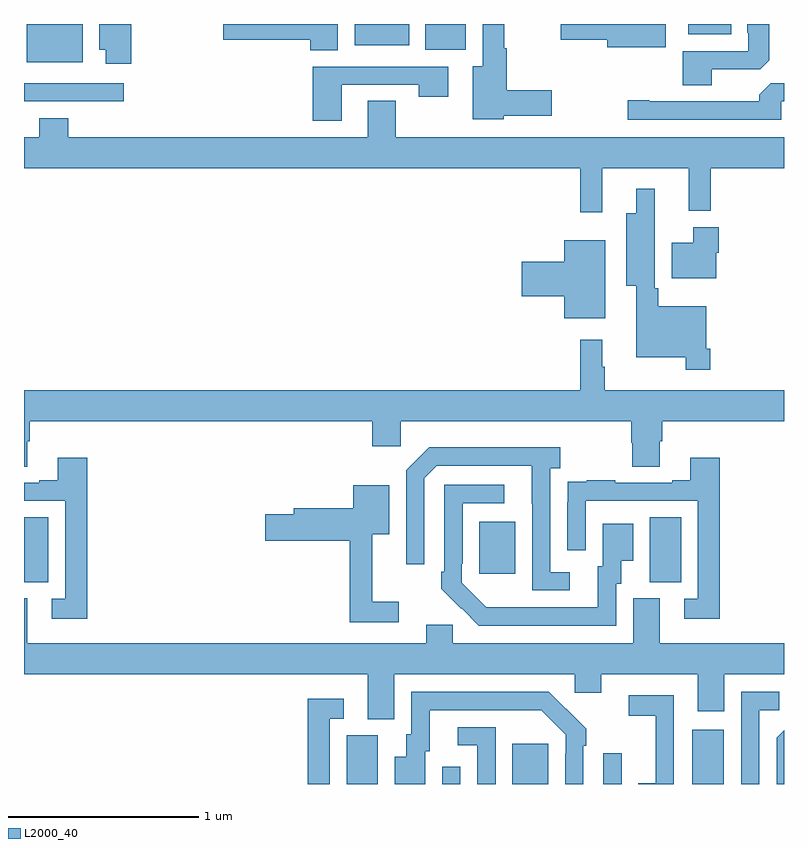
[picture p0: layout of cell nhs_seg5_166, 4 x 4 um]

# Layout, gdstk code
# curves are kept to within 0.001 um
import gdstk
lib = gdstk.Library(unit=1e-6, precision=1e-09)
def R(c, l, rs):  # rectangles x0, y0, x1, y1
    for r in rs: c.add(gdstk.rectangle(r[:2], r[2:], *l))
def P(c, l, *ps):  # polygons
    for p in ps: c.add(gdstk.Polygon(p, *l))
L2000_40 = (2000, 40)

nhs_seg5_166 = lib.new_cell('nhs_seg5_166')
R(nhs_seg5_166, L2000_40, [(120.698,906.799,120.862,907.056), (121.2,906.799,121.296,906.889), (121.571,906.799,121.759,907.012), (122.049,906.799,122.145,906.961), (122.516,906.799,122.683,907.084), (119,907.861,119.128,908.204), (122.294,907.861,122.458,908.204), (121.397,907.905,121.585,908.179), (119,910.392,119.524,910.488), (119.015,910.598,119.308,910.799), (121.112,910.664,121.324,910.799), (120.74,910.688,121.027,910.799), (122.495,910.745,122.722,910.799)])
P(nhs_seg5_166, L2000_40, [(122.62,910.56),(122.874,910.56),(122.923,910.609),(122.923,910.799),(122.807,910.799),(122.807,910.753),(122.811,910.753),(122.811,910.656),(122.468,910.656),(122.468,910.477),(122.62,910.477)],
  [(119.564,910.799),(119.396,910.799),(119.396,910.664),(119.429,910.664),(119.429,910.59),(119.564,910.59)],
  [(122.377,910.799),(121.824,910.799),(121.824,910.715),(122.069,910.715),(122.069,910.676),(122.377,910.676)],
  [(120.652,910.799),(120.048,910.799),(120.048,910.715),(120.506,910.715),(120.506,910.66),(120.652,910.66)],
  [(121.524,910.316),(121.777,910.316),(121.777,910.451),(121.541,910.451),(121.541,910.672),(121.528,910.672),(121.528,910.799),(121.415,910.799),(121.415,910.576),(121.361,910.576),(121.361,910.298),(121.524,910.298)],
  [(120.673,910.479),(121.078,910.479),(121.078,910.416),(121.234,910.416),(121.234,910.575),(120.521,910.575),(120.521,910.29),(120.673,910.29)],
  [(122.985,910.392),(123,910.392),(123,910.488),(122.931,910.488),(122.87,910.426),(122.87,910.392),(122.29,910.392),(122.29,910.397),(122.178,910.397),(122.178,910.296),(122.985,910.296)],
  [(122.043,910.04),(122.498,910.04),(122.498,909.815),(122.615,909.815),(122.615,910.04),(123,910.04),(123,910.204),(120.957,910.204),(120.957,910.394),(120.809,910.394),(120.809,910.204),(119.234,910.204),(119.234,910.303),(119.081,910.303),(119.081,910.204),(119,910.204),(119,910.04),(121.927,910.04),(121.927,909.807),(122.043,909.807)],
  [(122.612,909.091),(122.592,909.091),(122.592,909.313),(122.339,909.313),(122.339,909.409),(122.32,909.409),(122.32,909.645),(122.319,909.645),(122.319,909.931),(122.222,909.931),(122.222,909.802),(122.171,909.802),(122.171,909.422),(122.222,909.422),(122.222,909.044),(122.484,909.044),(122.484,908.979),(122.612,908.979)],
  [(122.644,909.594),(122.657,909.594),(122.657,909.73),(122.522,909.73),(122.522,909.649),(122.408,909.649),(122.408,909.461),(122.644,909.461)],
  [(122.059,909.661),(121.844,909.661),(121.844,909.548),(121.62,909.548),(121.62,909.365),(121.844,909.365),(121.844,909.251),(122.059,909.251)],
  [(119.017,908.602),(119.03,908.602),(119.03,908.708),(120.833,908.708),(120.833,908.577),(120.984,908.577),(120.984,908.708),(122.195,908.708),(122.195,908.595),(122.2,908.595),(122.2,908.47),(122.347,908.47),(122.347,908.602),(122.36,908.602),(122.36,908.708),(123,908.708),(123,908.872),(122.056,908.872),(122.056,908.996),(122.044,908.996),(122.044,909.136),(121.927,909.136),(121.927,908.872),(119,908.872),(119,908.47),(119.017,908.47)],
  [(121.873,907.914),(121.77,907.914),(121.77,908.462),(121.822,908.462),(121.822,908.572),(121.132,908.572),(121.011,908.451),(121.011,907.956),(121.107,907.956),(121.107,908.409),(121.173,908.475),(121.673,908.475),(121.674,907.818),(121.873,907.818)],
  [(122.663,908.515),(122.507,908.515),(122.507,908.398),(122.411,908.398),(122.411,908.385),(122.111,908.385),(122.111,908.398),(121.963,908.398),(121.963,908.391),(121.861,908.391),(121.861,908.282),(121.86,908.282),(121.86,908.028),(121.956,908.028),(121.956,908.289),(122.547,908.289),(122.547,907.773),(122.475,907.773),(122.475,907.668),(122.663,907.668)],
  [(119.333,908.515),(119.177,908.515),(119.177,908.398),(119.081,908.398),(119.081,908.385),(119,908.385),(119,908.289),(119.217,908.289),(119.217,907.773),(119.145,907.773),(119.145,907.668),(119.333,907.668)],
  [(122.118,907.854),(122.143,907.854),(122.143,907.973),(122.206,907.973),(122.206,908.17),(122.045,908.17),(122.045,907.944),(122.021,907.944),(122.021,907.728),(121.434,907.729),(121.305,907.857),(121.305,907.957),(121.308,907.957),(121.308,908.277),(121.528,908.277),(121.528,908.373),(121.212,908.373),(121.212,907.915),(121.197,907.915),(121.197,907.827),(121.394,907.632),(122.118,907.632)],
  [(120.973,907.759),(120.833,907.759),(120.833,908.114),(120.922,908.114),(120.922,908.371),(120.734,908.371),(120.734,908.25),(120.419,908.25),(120.419,908.22),(120.27,908.22),(120.27,908.078),(120.715,908.078),(120.715,907.65),(120.973,907.65)],
  [(120.949,907.376),(121.899,907.376),(121.899,907.278),(122.038,907.278),(122.038,907.376),(122.546,907.376),(122.546,907.182),(122.686,907.182),(122.686,907.376),(123,907.376),(123,907.54),(122.347,907.54),(122.347,907.776),(122.207,907.776),(122.207,907.54),(121.257,907.54),(121.257,907.638),(121.118,907.638),(121.118,907.54),(119.017,907.54),(119.017,907.776),(119,907.776),(119,907.376),(120.809,907.376),(120.809,907.141),(120.949,907.141)],
  [(121.111,906.972),(121.135,906.972),(121.135,907.188),(121.723,907.188),(121.851,907.059),(121.851,906.959),(121.848,906.959),(121.848,906.799),(121.944,906.799),(121.944,907.001),(121.959,907.001),(121.959,907.089),(121.762,907.284),(121.038,907.284),(121.038,907.062),(121.013,907.062),(121.013,906.943),(120.95,906.943),(120.95,906.799),(121.111,906.799)],
  [(122.871,907.188),(122.974,907.188),(122.974,907.284),(122.775,907.284),(122.775,906.799),(122.871,906.799)],
  [(122.421,907.266),(122.184,907.266),(122.184,907.158),(122.324,907.158),(122.324,906.802),(122.234,906.802),(122.234,906.799),(122.421,906.799)],
  [(120.609,907.143),(120.682,907.143),(120.682,907.249),(120.493,907.249),(120.493,906.799),(120.609,906.799)],
  [(121.482,907.098),(121.284,907.098),(121.284,907.002),(121.386,907.002),(121.386,906.799),(121.482,906.799)],
  [(123,907.081),(122.961,907.042),(122.961,906.799),(123,906.799)])

lib.write_gds('nhs_seg5_166.gds')
